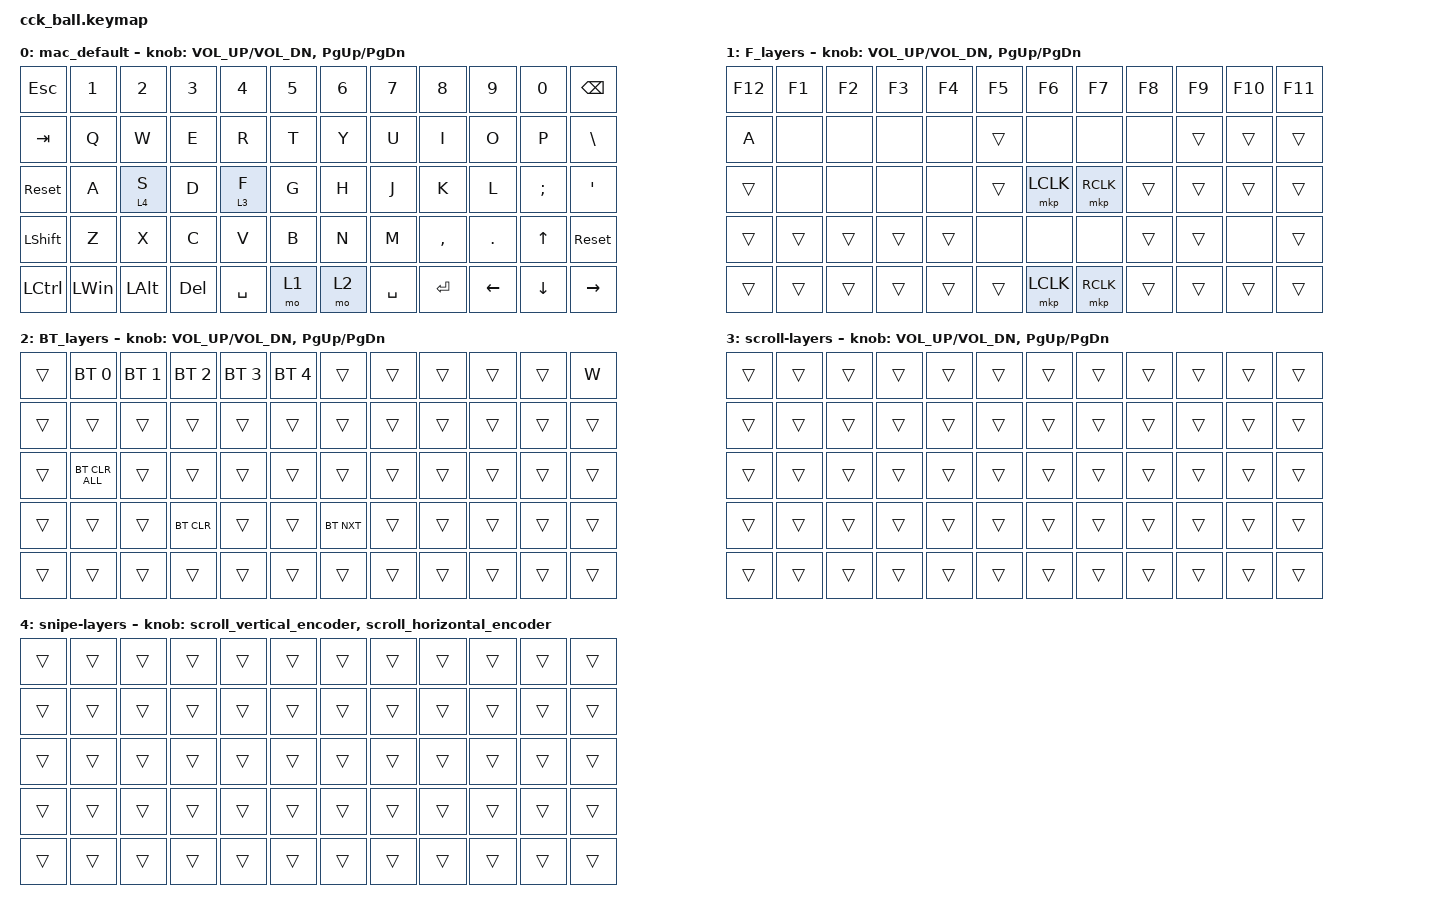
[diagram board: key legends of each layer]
#define ZMK_POINTING_DEFAULT_MOVE_VAL 1000 // 600
#define ZMK_POINTING_DEFAULT_SCRL_VAL 12   // 10

#include <input/processors.dtsi>
#include <zephyr/dt-bindings/input/input-event-codes.h>
#include <behaviors.dtsi>
#include <dt-bindings/zmk/bt.h>
#include <dt-bindings/zmk/keys.h>
#include <dt-bindings/zmk/pointing.h>

&mmv_input_listener { input-processors = <&zip_xy_scaler 2 1>; };

&msc_input_listener { input-processors = <&zip_scroll_scaler 2 1>; };

&msc {
    acceleration-exponent = <0>;      // 0
    time-to-max-speed-ms = <300>;       // 300
    delay-ms = <0>;                   // 0
};

&mmv {
    time-to-max-speed-ms = <500>;
    acceleration-exponent = <1>;
    trigger-period-ms = <16>;
};

&soft_off { hold-time-ms = <2000>; };

/ {
    // 上下滚动编码器行为
    scroll_vertical_encoder: scroll_vertical_encoder {
        compatible = "zmk,behavior-sensor-rotate";
        #sensor-binding-cells = <0>;
        bindings = <&msc SCRL_DOWN>, <&msc SCRL_UP>;
        tap-ms = <100>;
    };

    // 左右滚动编码器行为
    scroll_horizontal_encoder: scroll_horizontal_encoder {
        compatible = "zmk,behavior-sensor-rotate";
        #sensor-binding-cells = <0>;
        bindings = <&msc SCRL_LEFT>, <&msc SCRL_RIGHT>;
        tap-ms = <100>;
    };

    behaviors {
    };

    keymap {
        compatible = "zmk,keymap";

        mac_default {

// ┌───────┬───────┬───────┬───────┬───────┬───────┐                 ┌───────┬───────┬───────┬───────┬───────┬───────┐
// │ ESC   │ 1     │ 2     │ 3     │ 4     │ 5     │                 │ 6     │ 7     │ 8     │ 9     │ 0     │ BACK  │
// ├───────┼───────┼───────┼───────┼───────┼───────┤                 ├───────┼───────┼───────┼───────┼───────┼───────┤
// │ TAB   │ Q     │ W     │ E     │ R     │ T     │                 │ Y     │ U     │ I     │ O     │ P     │ @     │
// ├───────┼───────┼───────┼───────┼───────┼───────┤                 ├───────┼───────┼───────┼───────┼───────┼───────┤
// │ LCTRL │ A     │ S     │ D     │ F     │ G     │                 │ H     │ J     │ K     │ L     │ ;     │ :     │
// ├───────┼───────┼───────┼───────┼───────┼───────┤                 ├───────┼───────┼───────┼───────┼───────┼───────┤
// │ LSHFT │ Z     │ X     │ C     │ V     │ B     │                 │ N     │ M     │ ,     │ .     │ ↑     │ _     │
// ├───────┼───────┼───────┼───────┼───────┼───────┼───────┐ ┌───────┼───────┼───────┼───────┼───────┼───────┼───────┤
// │ LCMD  │ LOPT  │ ※3    │       │ SPACE │ ※1    │ ※2    │ │ ※4    │ ※5    │ ※6    │       │ ←     │ ↓     │ →     │
// └───────┴───────┴───────┘       └───────┴───────┴───────┘ └───────┴───────┴───────┘       └───────┴───────┴───────┘
// ※1 左クリック
// ※2 タップ: 右クリック, ホールド: レイヤー◯
// ※3 ホールド: レイヤー◯
// ※4 ホールド: レイヤー◯
// ※5 
// ※6 Enter

            bindings = <
// ┌─────────────────┬─────────────┬─────────┬───────────┬──────────┬───────────────┐   ┌──────────┬─────────┬──────────┬───────────────┬───────────────┬────────────────┐
    &kp ESC           &kp N1    &kp N2        &kp N3      &kp N4     &kp N5  &kp N6  &kp N7     &kp N8     &kp N9          &kp N0          &kp BACKSPACE
// ├─────────────────┼─────────────┼─────────┼───────────┼──────────┼───────────────┤   ├──────────┼─────────┼──────────┼───────────────┼───────────────┼────────────────┤
    &kp TAB           &kp Q     &kp W         &kp E       &kp R      &kp T   &kp Y   &kp U      &kp I      &kp O           &kp P           &kp BSLH
// ├─────────────────┼─────────────┼─────────┼───────────┼──────────┼───────────────┤   ├──────────┼─────────┼──────────┼───────────────┼───────────────┼────────────────┤
    &sys_reset        &kp A         &lt 4 S       &kp D       &lt 3 F    &kp G   &kp H   &kp J      &kp K      &kp L           &kp SEMI        &kp SQT
// ├─────────────────┼─────────────┼─────────┼───────────┼──────────┼───────────────┤   ├──────────┼─────────┼──────────┼───────────────┼───────────────┼────────────────┤
    &kp LEFT_SHIFT    &kp Z         &kp X         &kp C       &kp V      &kp B   &kp N   &kp M      &kp COMMA  &kp DOT         &kp UP_ARROW    &sys_reset
// ├─────────────────┼─────────────┼─────────┼───────────┼──────────┼───────────────┤   ├──────────┼─────────┼──────────┼───────────────┼───────────────┼────────────────┤
    &kp LEFT_CONTROL  &kp LEFT_WIN  &kp LEFT_ALT  &kp DELETE  &kp SPACE  &mo 1   &mo 2   &kp SPACE  &kp ENTER  &kp LEFT_ARROW  &kp DOWN_ARROW  &kp RIGHT_ARROW
// └─────────────────┴─────────────┴─────────┘└──────────┴──────────┴───────────────┘   └──────────┴─────────┴─────────┘└───────────────┴───────────────┴────────────────┘
            >;

            sensor-bindings = <&inc_dec_kp C_VOL_UP C_VOL_DN &inc_dec_kp PG_UP PG_DN>;
        };

        F_layers {
            bindings = <
// ┌─────────┬─────────┬─────────┬───────────┬──────────┬───────────────┐   ┌──────────┬─────────┬──────────┬───────────────┬───────────────┬────────────────┐
    &kp F12  &kp F1  &kp F2  &kp F3  &kp F4  &kp F5  &kp F6     &kp F7     &kp F8  &kp F9  &kp F10  &kp F11
// ├─────────┼─────────┼─────────┼───────────┼──────────┼───────────────┤   ├──────────┼─────────┼──────────┼───────────────┼───────────────┼────────────────┤
    &kp A    &none   &none   &none   &none   &trans  &none      &none      &none   &trans  &trans   &trans
// ├─────────┼─────────┼─────────┼───────────┼──────────┼───────────────┤   ├──────────┼─────────┼──────────┼───────────────┼───────────────┼────────────────┤
    &trans   &none   &none   &none   &none   &trans  &mkp LCLK  &mkp RCLK  &trans  &trans  &trans   &trans
// ├─────────┼─────────┼─────────┼───────────┼──────────┼───────────────┤   ├──────────┼─────────┼──────────┼───────────────┼───────────────┼────────────────┤
    &trans   &trans  &trans  &trans  &trans  &none   &none      &none      &trans  &trans  &none    &trans
// ├─────────┼─────────┼─────────┼───────────┼──────────┼───────────────┤   ├──────────┼─────────┼──────────┼───────────────┼───────────────┼────────────────┤
    &trans   &trans  &trans  &trans  &trans  &trans  &mkp LCLK  &mkp RCLK  &trans  &trans  &trans   &trans
// └─────────┴─────────┴─────────┘└──────────┴──────────┴───────────────┘   └──────────┴─────────┴─────────┘└───────────────┴───────────────┴────────────────┘
            >;

            sensor-bindings = <&inc_dec_kp C_VOL_UP C_VOL_DN &inc_dec_kp PG_UP PG_DN>;
        };

        BT_layers {
            bindings = <
&trans  &bt BT_SEL 0    &bt BT_SEL 1  &bt BT_SEL 2  &bt BT_SEL 3  &bt BT_SEL 4  &trans      &trans  &trans  &trans  &trans  &kp W
&trans  &trans          &trans        &trans        &trans        &trans        &trans      &trans  &trans  &trans  &trans  &trans
&trans  &bt BT_CLR_ALL  &trans        &trans        &trans        &trans        &trans      &trans  &trans  &trans  &trans  &trans
&trans  &trans          &trans        &bt BT_CLR    &trans        &trans        &bt BT_NXT  &trans  &trans  &trans  &trans  &trans
&trans  &trans          &trans        &trans        &trans        &trans        &trans      &trans  &trans  &trans  &trans  &trans
            >;

            sensor-bindings = <&inc_dec_kp C_VOL_UP C_VOL_DN &inc_dec_kp PG_UP PG_DN>;
        };

        scroll-layers {
            bindings = <
&trans  &trans  &trans  &trans  &trans  &trans  &trans  &trans  &trans  &trans  &trans  &trans
&trans  &trans  &trans  &trans  &trans  &trans  &trans  &trans  &trans  &trans  &trans  &trans
&trans  &trans  &trans  &trans  &trans  &trans  &trans  &trans  &trans  &trans  &trans  &trans
&trans  &trans  &trans  &trans  &trans  &trans  &trans  &trans  &trans  &trans  &trans  &trans
&trans  &trans  &trans  &trans  &trans  &trans  &trans  &trans  &trans  &trans  &trans  &trans
            >;

            sensor-bindings = <&inc_dec_kp C_VOL_UP C_VOL_DN &inc_dec_kp PG_UP PG_DN>;
        };

        snipe-layers {
            bindings = <
&trans  &trans  &trans  &trans  &trans  &trans  &trans  &trans  &trans  &trans  &trans  &trans
&trans  &trans  &trans  &trans  &trans  &trans  &trans  &trans  &trans  &trans  &trans  &trans
&trans  &trans  &trans  &trans  &trans  &trans  &trans  &trans  &trans  &trans  &trans  &trans
&trans  &trans  &trans  &trans  &trans  &trans  &trans  &trans  &trans  &trans  &trans  &trans
&trans  &trans  &trans  &trans  &trans  &trans  &trans  &trans  &trans  &trans  &trans  &trans
            >;

            sensor-bindings = <&scroll_vertical_encoder>,   // 编码器1：上下滚动
                             <&scroll_horizontal_encoder>;  // 编码器2：左右滚动
        };
    };
};
